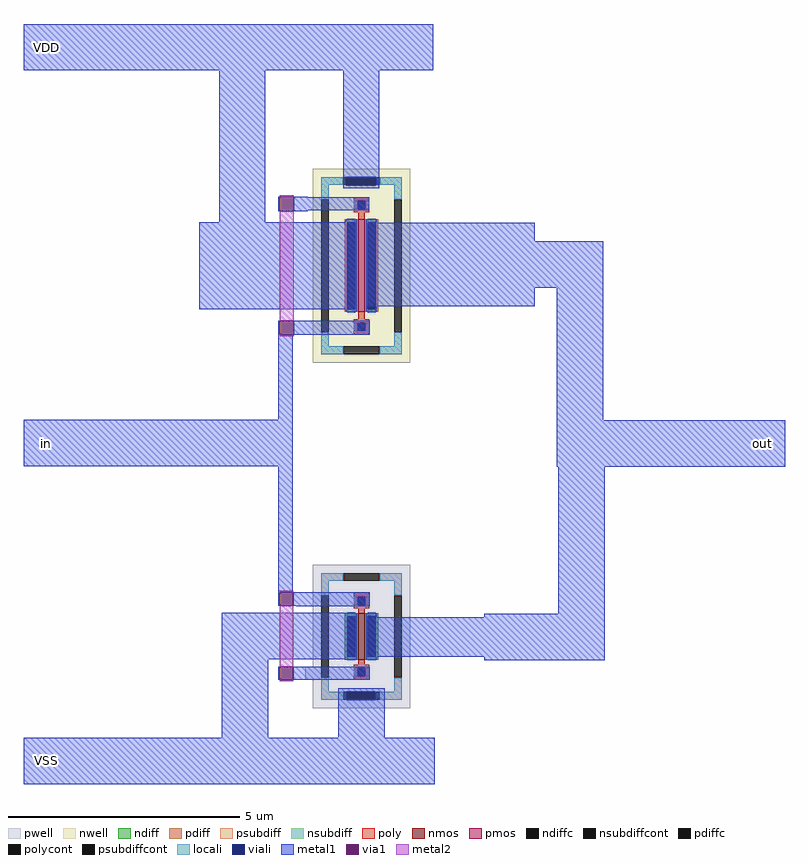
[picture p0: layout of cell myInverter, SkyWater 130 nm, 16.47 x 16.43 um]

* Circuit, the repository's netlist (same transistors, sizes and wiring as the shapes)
** sch_path: /home/ttuser/Documents/tt08-inverter/xschem/myInverter.sch
.subckt myInverter VSS VDD out in
*.PININFO VDD:B VSS:B in:I out:O
XM2 out in VSS VSS sky130_fd_pr__nfet_01v8 L=0.15 W=1 nf=1 m=1
XM1 out in VDD VDD sky130_fd_pr__pfet_01v8 L=0.15 W=2 nf=1 m=1
.ends
.end

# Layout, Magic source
magic
tech sky130A
magscale 1 2
<< pwell >>
rect 1096 -1852 1374 -1794
<< viali >>
rect 1272 286 1402 322
rect 1274 -1938 1400 -1904
<< metal1 >>
rect -122 784 1650 984
rect 725 126 923 784
rect 1261 322 1416 784
rect 1261 286 1272 322
rect 1402 286 1416 322
rect 1261 273 1416 286
rect 979 175 985 237
rect 1047 236 1107 237
rect 1047 178 1372 236
rect 1047 175 1107 178
rect 637 -249 1311 126
rect 1365 44 2089 125
rect 1365 -156 2384 44
rect 1365 -237 2089 -156
rect 979 -360 985 -298
rect 1047 -360 1374 -298
rect 980 -728 1042 -360
rect -122 -928 1042 -728
rect 980 -1473 1042 -928
rect 2184 -730 2384 -156
rect 2184 -930 3172 -730
rect 979 -1531 985 -1473
rect 1043 -1474 1103 -1473
rect 1043 -1531 1374 -1474
rect 1058 -1534 1374 -1531
rect 734 -1763 1312 -1562
rect 2190 -1566 2390 -930
rect 1870 -1580 2390 -1566
rect 1367 -1751 2390 -1580
rect 734 -2101 935 -1763
rect 1870 -1766 2390 -1751
rect 979 -1852 985 -1794
rect 1043 -1852 1374 -1794
rect 1239 -1904 1440 -1888
rect 1239 -1938 1274 -1904
rect 1400 -1938 1440 -1904
rect 1239 -2101 1440 -1938
rect -122 -2302 1656 -2101
<< via1 >>
rect 985 175 1047 237
rect 985 -360 1047 -298
rect 985 -1531 1043 -1473
rect 985 -1852 1043 -1794
<< metal2 >>
rect 985 237 1047 243
rect 985 -298 1047 175
rect 985 -366 1047 -360
rect 985 -1473 1043 -1467
rect 985 -1794 1043 -1531
rect 985 -1858 1043 -1852
use sky130_fd_pr__pfet_01v8_XGAKDL  XM1
transform 1 0 1339 0 1 -61
box -211 -419 211 419
use sky130_fd_pr__nfet_01v8_648S5X  XM2
transform 1 0 1339 0 1 -1664
box -211 -310 211 310
<< labels >>
flabel metal1 -122 -928 78 -728 0 FreeSans 256 0 0 0 in
port 3 nsew
flabel metal1 -122 -2302 78 -2102 0 FreeSans 256 0 0 0 VSS
port 0 nsew
flabel metal1 -122 784 78 984 0 FreeSans 256 0 0 0 VDD
port 1 nsew
flabel metal1 2972 -930 3172 -730 0 FreeSans 256 0 0 0 out
port 2 nsew
<< end >>

# cell sky130_fd_pr__pfet_01v8_XGAKDL: kit device sky130_fd_pr__pfet_01v8, w 2.0 l 0.15 m 1 nf 1 diffcov 100 polycov 100 guard 1 glc 1 grc 1 gtc 1 gbc 1 tbcov 100 rlcov 100 topc 1 botc 1 poverlap 0 doverlap 1 lmin 0.15 wmin 0.42 compatible {sky130_fd_pr__pfet_01v8 sky130_fd_pr__pfet_01v8_lvt sky130_fd_pr__pfet_01v8_hvt sky130_fd_pr__pfet_g5v0d10v5} full_metal 1 viasrc 100 viadrn 100 viagate 100 viagb 0 viagr 0 viagl 0 viagt 0

# cell sky130_fd_pr__nfet_01v8_648S5X: kit device sky130_fd_pr__nfet_01v8, w 1.0 l 0.15 m 1 nf 1 diffcov 100 polycov 100 guard 1 glc 1 grc 1 gtc 1 gbc 1 tbcov 100 rlcov 100 topc 1 botc 1 poverlap 0 doverlap 1 lmin 0.15 wmin 0.42 compatible {sky130_fd_pr__nfet_01v8 sky130_fd_pr__nfet_01v8_lvt sky130_fd_bs_flash__special_sonosfet_star sky130_fd_pr__nfet_g5v0d10v5 sky130_fd_pr__nfet_05v0_nvt sky130_fd_pr__nfet_03v3_nvt} full_metal 1 viasrc 100 viadrn 100 viagate 100 viagb 0 viagr 0 viagl 0 viagt 0
